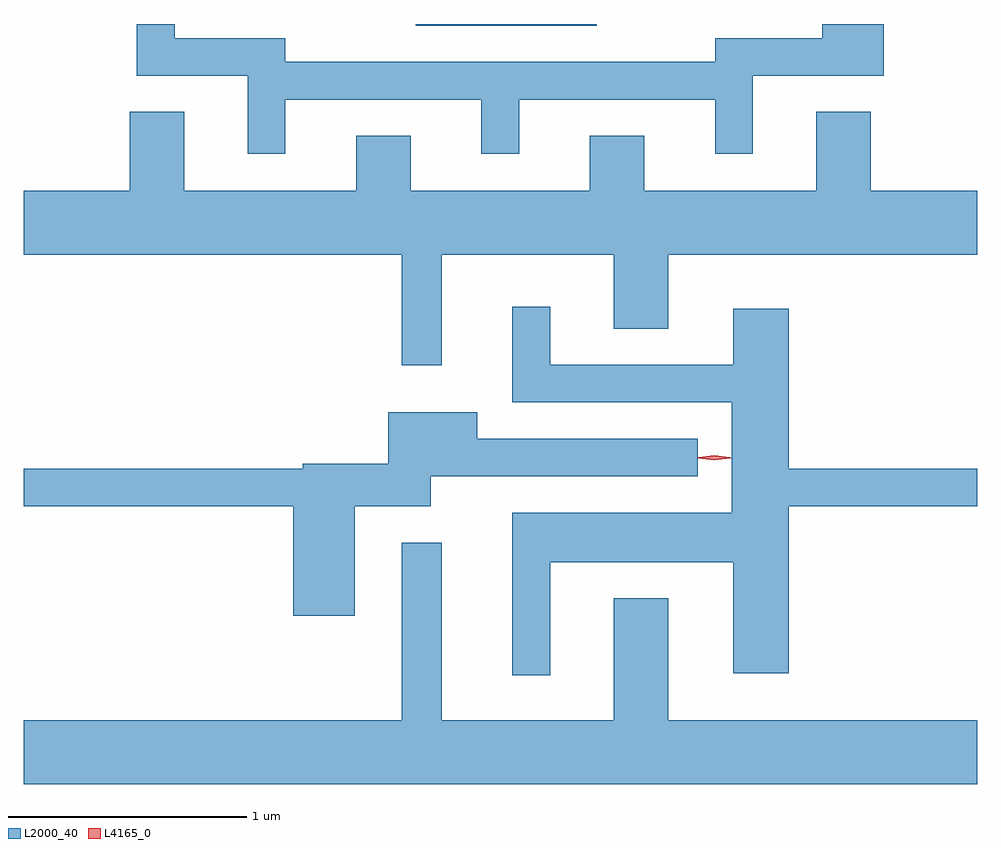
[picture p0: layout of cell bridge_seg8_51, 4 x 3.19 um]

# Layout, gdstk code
import gdstk
lib = gdstk.Library(unit=1e-6, precision=1e-09)
def R(c, l, rs):  # rectangles x0, y0, x1, y1
    for r in rs: c.add(gdstk.rectangle(r[:2], r[2:], *l))
def P(c, l, *ps):  # polygons
    for p in ps: c.add(gdstk.Polygon(p, *l))
L2000_40 = (2000, 40)
L4165_0 = (4165, 0)

bridge_seg8_51 = lib.new_cell('bridge_seg8_51')
R(bridge_seg8_51, L2000_40, [(1549.631,1908.416,1550.389,1908.423)])
P(bridge_seg8_51, L2000_40, [(1549.084,1908.106),(1549.906,1908.106),(1549.906,1907.878),(1550.064,1907.878),(1550.064,1908.106),(1550.886,1908.106),(1550.886,1907.878),(1551.044,1907.878),(1551.044,1908.206),(1551.594,1908.206),(1551.594,1908.423),(1551.336,1908.423),(1551.336,1908.364),(1550.886,1908.364),(1550.886,1908.264),(1549.084,1908.264),(1549.084,1908.364),(1548.619,1908.364),(1548.619,1908.423),(1548.461,1908.423),(1548.461,1908.206),(1548.926,1908.206),(1548.926,1907.878),(1549.084,1907.878)],
  [(1549.739,1907.456),(1550.461,1907.456),(1550.461,1907.146),(1550.689,1907.146),(1550.689,1907.456),(1551.986,1907.456),(1551.986,1907.724),(1551.539,1907.724),(1551.539,1908.054),(1551.311,1908.054),(1551.311,1907.724),(1550.589,1907.724),(1550.589,1907.954),(1550.361,1907.954),(1550.361,1907.724),(1549.609,1907.724),(1549.609,1907.954),(1549.381,1907.954),(1549.381,1907.724),(1548.659,1907.724),(1548.659,1908.054),(1548.431,1908.054),(1548.431,1907.724),(1547.986,1907.724),(1547.986,1907.456),(1549.571,1907.456),(1549.571,1906.993),(1549.739,1906.993)],
  [(1550.194,1906.166),(1550.961,1906.166),(1550.961,1905.701),(1551.194,1905.701),(1551.194,1906.401),(1551.986,1906.401),(1551.986,1906.559),(1551.194,1906.559),(1551.194,1907.229),(1550.961,1907.229),(1550.961,1906.994),(1550.194,1906.994),(1550.194,1907.238),(1550.036,1907.238),(1550.036,1906.836),(1550.956,1906.836),(1550.956,1906.374),(1550.036,1906.374),(1550.036,1905.693),(1550.194,1905.693)],
  [(1549.374,1906.401),(1549.694,1906.401),(1549.694,1906.526),(1550.813,1906.526),(1550.813,1906.684),(1549.889,1906.684),(1549.889,1906.794),(1549.516,1906.794),(1549.516,1906.579),(1549.156,1906.579),(1549.156,1906.559),(1547.986,1906.559),(1547.986,1906.401),(1549.116,1906.401),(1549.116,1905.941),(1549.374,1905.941)],
  [(1551.986,1905.504),(1550.689,1905.504),(1550.689,1906.014),(1550.461,1906.014),(1550.461,1905.504),(1549.739,1905.504),(1549.739,1906.248),(1549.571,1906.248),(1549.571,1905.504),(1547.986,1905.504),(1547.986,1905.236),(1551.986,1905.236)])
P(bridge_seg8_51, L4165_0, [(1550.883,1906.595),(1550.818,1906.604),(1550.817,1906.605),(1550.818,1906.606),(1550.883,1906.615),(1550.948,1906.606),(1550.948,1906.605),(1550.948,1906.604)],
  [(1550.883,1906.593),(1550.814,1906.603),(1550.814,1906.603),(1550.814,1906.604),(1550.883,1906.613),(1550.952,1906.604),(1550.953,1906.603),(1550.952,1906.603)])

lib.write_gds('bridge_seg8_51.gds')
